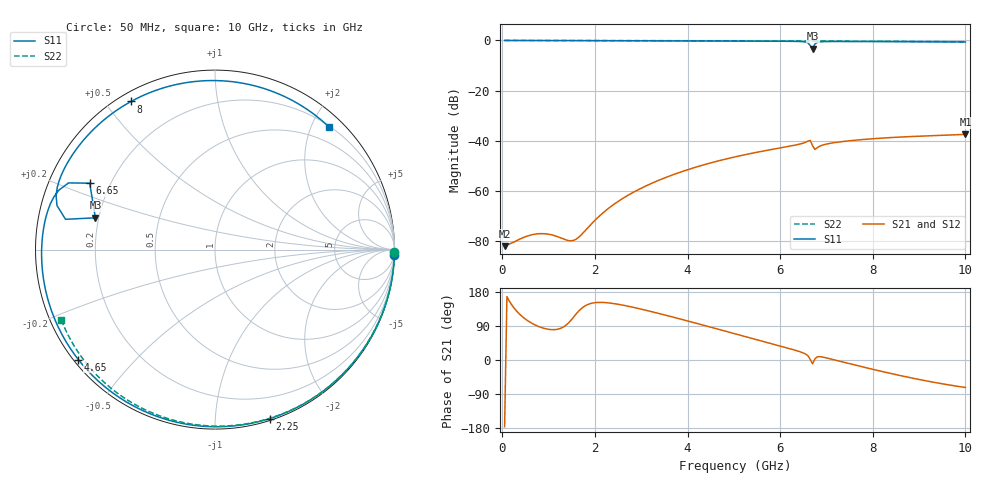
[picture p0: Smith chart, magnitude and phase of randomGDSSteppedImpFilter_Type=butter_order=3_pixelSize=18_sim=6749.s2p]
! freq	dB(S11)	phase(S11)	dB(S12)	phase(S12)
!  dB(S21)	phase(S21)	dB(S22)	phase(S22)
!S-par simulation data
#  GHz  S  DB  R 50
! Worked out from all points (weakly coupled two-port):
!   200 points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, 50 MHz to 10 GHz, reference 50 ohm
!   highest |S21| = -37.50 dB at 10 GHz (marker M1); lowest = -82.1 dB at 50 MHz (marker M2)
!   lowest |S11| = -3.2 dB at 6.7 GHz (marker M3), VSWR 5.44, Z = 9.34 + j6.31 ohm
!   |S11| at or under -10 dB: nowhere
!   |S22| runs from -0.5 to 0.0 dB; largest |S21 - S12| = 0
!   S11 on the Smith chart (normalised r, x): 50 MHz: 0, -69; 2.25 GHz: 0.02, -1.38; 4.65 GHz: 0.01, -0.35; 6.65 GHz: 0.12, +0.24; 8 GHz: 0.04, +0.58; 10 GHz: 0.22, +2.28
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0.05  -0.00 -1.7  -82.13 -176.1  -82.13 -176.1  -0.00 -0.9
0.3  -0.00 -9.9  -80.02 130.3  -80.02 130.3  -0.00 -5.4
0.85  -0.03 -28.0  -77.13 85.5  -77.13 85.5  -0.02 -15.2
1.5  -0.06 -48.8  -79.96 107.4  -79.96 107.4  -0.03 -26.7
1.75  -0.07 -56.6  -76.75 139.8  -76.75 139.8  -0.04 -31.0
2.25  -0.09 -72.0  -67.66 151.3  -67.66 151.3  -0.05 -39.7
2.75  -0.11 -87.0  -61.43 141.1  -61.43 141.1  -0.06 -48.1
3.4  -0.14 -105.9  -55.66 122.2  -55.66 122.2  -0.08 -58.9
4.65  -0.20 -141.2  -48.15 81.7  -48.15 81.7  -0.12 -78.8
5.05  -0.22 -152.4  -46.37 68.4  -46.37 68.4  -0.13 -84.9
5.7  -0.27 -171.1  -43.92 46.8  -43.92 46.8  -0.16 -94.7
6.25  -0.34 171.9  -42.07 28.4  -42.07 28.4  -0.19 -102.7
6.55  -0.62 159.2  -40.63 15.7  -40.63 15.7  -0.20 -107.1
6.65  -2.05 152.1  -39.94 1.5  -39.94 1.5  -0.21 -108.5
6.7  -3.23 165.1  -42.00 -10.0  -42.00 -10.0  -0.21 -109.2
6.75  -1.41 168.5  -43.51 2.6  -43.51 2.6  -0.22 -109.9
6.9  -0.49 158.5  -41.88 8.2  -41.88 8.2  -0.23 -112.1
7.35  -0.41 141.6  -40.35 -5.1  -40.35 -5.1  -0.26 -118.5
8  -0.46 119.5  -39.24 -24.6  -39.24 -24.6  -0.31 -127.6
8.35  -0.49 107.3  -38.81 -34.5  -38.81 -34.5  -0.34 -132.4
9.15  -0.54 78.5  -38.11 -55.0  -38.11 -55.0  -0.42 -143.6
10  -0.61 47.1  -37.50 -72.6  -37.50 -72.6  -0.52 -155.5
